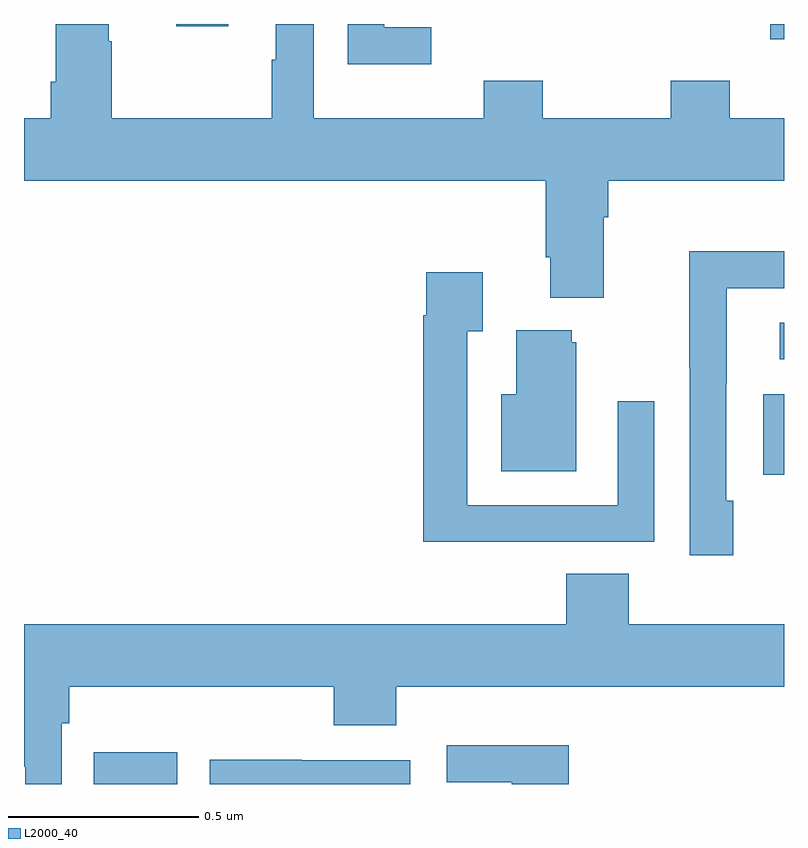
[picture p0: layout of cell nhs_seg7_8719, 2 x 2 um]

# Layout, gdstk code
import gdstk
lib = gdstk.Library(unit=1e-6, precision=1e-09)
def R(c, l, rs):  # rectangles x0, y0, x1, y1
    for r in rs: c.add(gdstk.rectangle(r[:2], r[2:], *l))
def P(c, l, *ps):  # polygons
    for p in ps: c.add(gdstk.Polygon(p, *l))
L2000_40 = (2000, 40)

nhs_seg7_8719 = lib.new_cell('nhs_seg7_8719')
R(nhs_seg7_8719, L2000_40, [(228.184,1027,228.403,1027.084), (229.946,1027.814,230,1028.026), (229.989,1028.118,230,1028.214), (229.964,1028.96,230,1029), (228.401,1028.994,228.537,1029)])
P(nhs_seg7_8719, L2000_40, [(229.072,1028.991),(228.948,1028.991),(228.948,1029),(228.852,1029),(228.852,1028.894),(229.072,1028.894)],
  [(229.525,1028.492),(229.538,1028.492),(229.538,1028.588),(230,1028.588),(230,1028.752),(229.857,1028.752),(229.857,1028.851),(229.702,1028.851),(229.702,1028.752),(229.365,1028.752),(229.365,1028.851),(229.21,1028.851),(229.21,1028.752),(228.763,1028.752),(228.763,1029),(228.662,1029),(228.662,1028.906),(228.652,1028.906),(228.652,1028.752),(228.231,1028.752),(228.231,1028.954),(228.223,1028.954),(228.223,1029),(228.083,1029),(228.083,1028.848),(228.071,1028.848),(228.071,1028.752),(228,1028.752),(228,1028.588),(229.373,1028.588),(229.373,1028.386),(229.385,1028.386),(229.385,1028.279),(229.525,1028.279)],
  [(229.867,1027.746),(229.848,1027.746),(229.848,1028.053),(229.849,1028.053),(229.849,1028.304),(230,1028.304),(230,1028.402),(229.75,1028.402),(229.75,1028.095),(229.752,1028.095),(229.752,1027.602),(229.867,1027.602)],
  [(229.343,1027.638),(229.659,1027.638),(229.659,1028.007),(229.563,1028.007),(229.563,1027.734),(229.167,1027.734),(229.167,1028.191),(229.207,1028.191),(229.207,1028.347),(229.059,1028.347),(229.059,1028.234),(229.051,1028.234),(229.051,1027.637),(229.343,1027.637)],
  [(229.453,1028.163),(229.442,1028.163),(229.442,1028.194),(229.295,1028.194),(229.295,1028.026),(229.256,1028.026),(229.256,1027.823),(229.453,1027.823)],
  [(228.099,1027.16),(228.119,1027.16),(228.119,1027.256),(228.815,1027.256),(228.815,1027.154),(228.98,1027.154),(228.98,1027.256),(230,1027.256),(230,1027.42),(229.592,1027.42),(229.592,1027.553),(229.427,1027.553),(229.427,1027.42),(228,1027.42),(228,1027.045),(228.003,1027.045),(228.003,1027),(228.099,1027)],
  [(229.433,1027.102),(229.113,1027.102),(229.113,1027.004),(229.283,1027.004),(229.283,1027),(229.433,1027)],
  [(229.016,1027.062),(228.731,1027.062),(228.731,1027.064),(228.489,1027.064),(228.489,1027),(229.016,1027)])

lib.write_gds('nhs_seg7_8719.gds')
